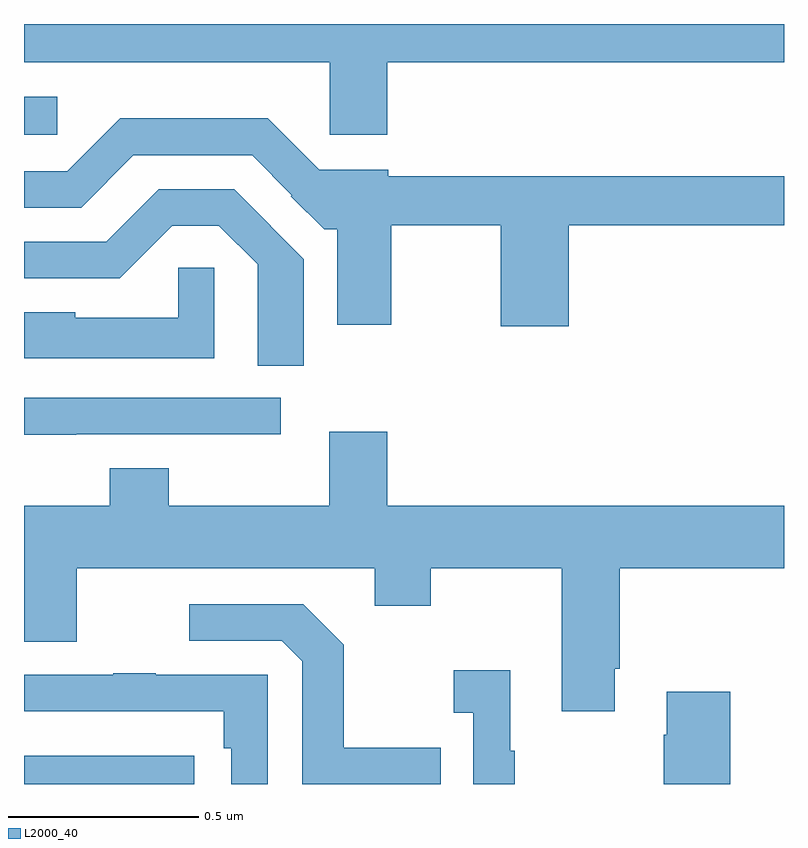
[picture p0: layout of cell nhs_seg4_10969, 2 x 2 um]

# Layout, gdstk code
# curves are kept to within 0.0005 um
import gdstk
lib = gdstk.Library(unit=1e-6, precision=1e-09)
def R(c, l, rs):  # rectangles x0, y0, x1, y1
    for r in rs: c.add(gdstk.rectangle(r[:2], r[2:], *l))
def P(c, l, *ps):  # polygons
    for p in ps: c.add(gdstk.Polygon(p, *l))
L2000_40 = (2000, 40)

nhs_seg4_10969 = lib.new_cell('nhs_seg4_10969')
R(nhs_seg4_10969, L2000_40, [(246,814.9,246.448,814.974), (246,816.609,246.088,816.709)])
P(nhs_seg4_10969, L2000_40, [(246.956,816.8),(248,816.8),(248,816.9),(246,816.9),(246,816.8),(246.805,816.8),(246.805,816.609),(246.956,816.609)],
  [(247.433,816.37),(248,816.37),(248,816.499),(246.958,816.499),(246.958,816.516),(246.777,816.516),(246.641,816.652),(246.253,816.652),(246.114,816.513),(246,816.513),(246,816.417),(246.15,816.417),(246.288,816.555),(246.6,816.555),(246.705,816.45),(246.702,816.447),(246.79,816.36),(246.824,816.36),(246.824,816.108),(246.966,816.108),(246.966,816.37),(247.255,816.37),(247.255,816.105),(247.433,816.105)],
  [(246.736,816.281),(246.553,816.465),(246.354,816.465),(246.216,816.327),(246,816.327),(246,816.231),(246.252,816.231),(246.39,816.369),(246.513,816.369),(246.615,816.268),(246.615,816.001),(246.736,816.001)],
  [(246.5,816.259),(246.406,816.259),(246.406,816.127),(246.135,816.127),(246.135,816.142),(246,816.142),(246,816.02),(246.5,816.02)],
  [(246.137,815.82),(246.676,815.82),(246.676,815.916),(246,815.916),(246,815.819),(246.137,815.819)],
  [(247.555,815.203),(247.568,815.203),(247.568,815.468),(248,815.468),(248,815.632),(246.956,815.632),(246.956,815.827),(246.803,815.827),(246.803,815.632),(246.381,815.632),(246.381,815.731),(246.226,815.731),(246.226,815.632),(246,815.632),(246,815.274),(246.139,815.274),(246.139,815.468),(246.923,815.468),(246.923,815.369),(247.071,815.369),(247.071,815.468),(247.415,815.468),(247.415,815.091),(247.555,815.091)],
  [(247.097,814.995),(246.841,814.995),(246.841,815.267),(246.735,815.373),(246.435,815.373),(246.435,815.277),(246.678,815.277),(246.732,815.223),(246.732,814.9),(247.097,814.9)],
  [(247.291,814.987),(247.279,814.987),(247.279,815.2),(247.131,815.2),(247.131,815.087),(247.182,815.087),(247.182,814.9),(247.291,814.9)],
  [(246.642,815.187),(246.347,815.187),(246.347,815.192),(246.235,815.192),(246.235,815.187),(246,815.187),(246,815.091),(246.526,815.091),(246.526,814.994),(246.546,814.994),(246.546,814.9),(246.642,814.9)],
  [(247.859,815.143),(247.691,815.143),(247.691,815.03),(247.684,815.03),(247.684,814.9),(247.859,814.9)])

lib.write_gds('nhs_seg4_10969.gds')
